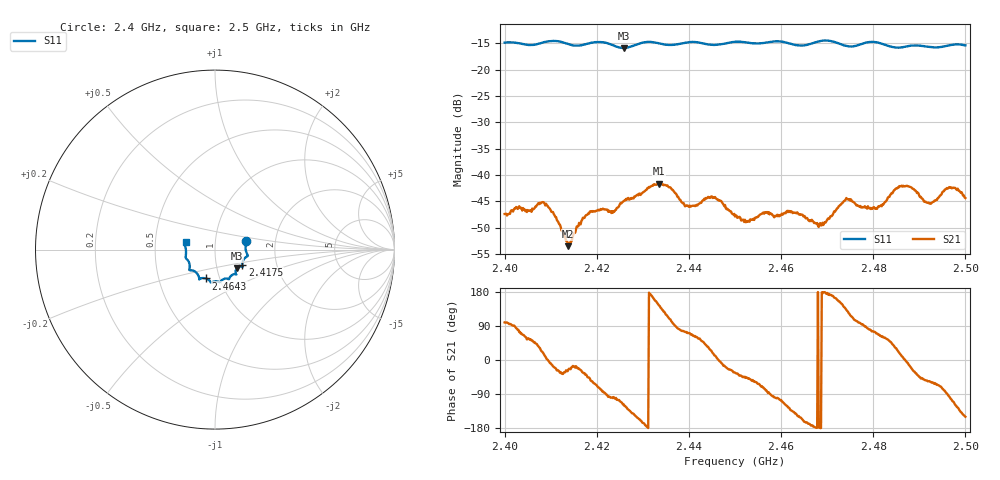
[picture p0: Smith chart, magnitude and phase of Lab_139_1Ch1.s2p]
# Hz S RI R 50
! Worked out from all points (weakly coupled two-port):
!   601 points, 2.4 GHz to 2.5 GHz, reference 50 ohm
!   highest |S21| = -41.62 dB at 2.4335 GHz (marker M1); lowest = -53.5 dB at 2.4138 GHz (marker M2)
!   lowest |S11| = -15.9 dB at 2.4258 GHz (marker M3), VSWR 1.38, Z = 62.4 - j13.2 ohm
!   |S11| at or under -10 dB: start of sweep to end of sweep
!   S12 and S22 are empty: the file has one direction only
!   S11 on the Smith chart (normalised r, x): 2.4 GHz: 1.41, +0.14; 2.4175 GHz: 1.34, -0.23; 2.4643 GHz: 0.86, -0.29; 2.5 GHz: 0.72, +0.06
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2.4e9  0.1728 0.0489  -0.000683 0.00423  0 0  0 0
2.4085e9  0.1795 -0.0249  0.0053 0.00152  0 0  0 0
2.413833e9  0.1677 -0.0456  0.00192 -0.000904  0 0  0 0
2.416667e9  0.1527 -0.0741  0.00325 -0.00173  0 0  0 0
2.4175e9  0.1518 -0.0835  0.00318 -0.00256  0 0  0 0
2.423667e9  0.14 -0.0942  -0.000615 -0.00451  0 0  0 0
2.425833e9  0.1221 -0.1034  -0.00256 -0.00506  0 0  0 0
2.433333e9  0.1129 -0.1372  -0.00687 0.00454  0 0  0 0
2.4335e9  0.1119 -0.137  -0.00672 0.00486  0 0  0 0
2.4395e9  0.0797 -0.1617  0.00144 0.00497  0 0  0 0
2.445333e9  0.0531 -0.1624  0.00588 0.00173  0 0  0 0
2.45e9  0.0289 -0.1809  0.00339 -0.00222  0 0  0 0
2.464333e9  -0.0499 -0.161  -0.00376 -0.00195  0 0  0 0
2.466667e9  -0.0758 -0.1593  -0.00374 -0.000514  0 0  0 0
2.469167e9  -0.088 -0.1661  -0.00336 6.64e-05  0 0  0 0
2.474333e9  -0.1002 -0.1328  -0.00376 0.00455  0 0  0 0
2.480333e9  -0.1435 -0.1119  0.00131 0.00463  0 0  0 0
2.483333e9  -0.1407 -0.0899  0.00382 0.00489  0 0  0 0
2.487e9  -0.1549 -0.0562  0.00788 -0.000205  0 0  0 0
2.492e9  -0.1618 -0.0255  0.00307 -0.00455  0 0  0 0
2.496333e9  -0.1675 0.0226  -0.000587 -0.00754  0 0  0 0
2.5e9  -0.1637 0.0429  -0.00523 -0.00306  0 0  0 0
